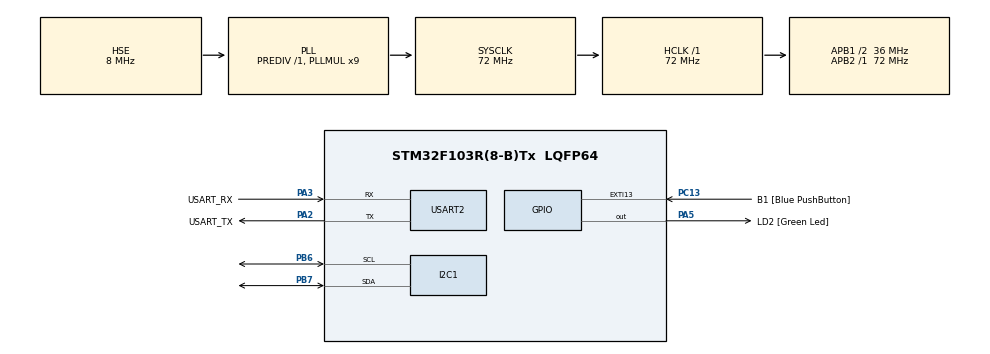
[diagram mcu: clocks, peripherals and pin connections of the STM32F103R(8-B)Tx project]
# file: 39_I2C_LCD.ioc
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Mcu.Family=STM32F1
Mcu.Name=STM32F103R(8-B)Tx
Mcu.Package=LQFP64
NVIC.EXTI15_10_IRQn=true\:0\:0\:false\:false\:true\:true\:true\:true
NVIC.PriorityGroup=NVIC_PRIORITYGROUP_4
PA13.GPIO_Label=TMS
PA13.Mode=Serial_Wire
PA13.Signal=SYS_JTMS-SWDIO
PA14.GPIO_Label=TCK
PA14.Mode=Serial_Wire
PA14.Signal=SYS_JTCK-SWCLK
PA2.GPIO_Label=USART_TX
PA2.GPIO_Mode=GPIO_MODE_AF_PP
PA2.GPIO_PuPd=GPIO_NOPULL
PA2.GPIO_Speed=GPIO_SPEED_FREQ_LOW
PA2.Mode=Asynchronous
PA2.Signal=USART2_TX
PA3.GPIO_Label=USART_RX
PA3.GPIO_Mode=GPIO_MODE_AF_PP
PA3.GPIO_PuPd=GPIO_NOPULL
PA3.GPIO_Speed=GPIO_SPEED_FREQ_LOW
PA3.Mode=Asynchronous
PA3.Signal=USART2_RX
PA5.GPIO_Label=LD2 [Green Led]
PA5.GPIO_ModeDefaultOutputPP=GPIO_MODE_OUTPUT_PP
PA5.GPIO_PuPd=GPIO_NOPULL
PA5.GPIO_Speed=GPIO_SPEED_FREQ_LOW
PA5.Signal=GPIO_Output
PB3.GPIO_Label=SWO
PB3.Signal=SYS_JTDO-TRACESWO
PB6.Mode=I2C
PB6.Signal=I2C1_SCL
PB7.Mode=I2C
PB7.Signal=I2C1_SDA
PC13-TAMPER-RTC.GPIO_Label=B1 [Blue PushButton]
PC13-TAMPER-RTC.GPIO_PuPd=GPIO_NOPULL
PC13-TAMPER-RTC.Signal=GPXTI13
PC14-OSC32_IN.Mode=LSE-External-Oscillator
PC14-OSC32_IN.Signal=RCC_OSC32_IN
PC15-OSC32_OUT.Mode=LSE-External-Oscillator
PC15-OSC32_OUT.Signal=RCC_OSC32_OUT
PD0-OSC_IN.Mode=HSE-External-Oscillator
PD0-OSC_IN.Signal=RCC_OSC_IN
PD1-OSC_OUT.Mode=HSE-External-Oscillator
PD1-OSC_OUT.Signal=RCC_OSC_OUT
ProjectManager.HeapSize=0x200
ProjectManager.StackSize=0x400
ProjectManager.TargetToolchain=CMake
RCC.AHBFreq_Value=72000000
RCC.APB1CLKDivider=RCC_HCLK_DIV2
RCC.APB1Freq_Value=36000000
RCC.APB1TimFreq_Value=72000000
RCC.APB2Freq_Value=72000000
RCC.APB2TimFreq_Value=72000000
RCC.HCLKFreq_Value=72000000
RCC.PLLMUL=RCC_PLL_MUL9
RCC.PLLSourceVirtual=RCC_PLLSOURCE_HSE
RCC.RTCClockSelection=RCC_RTCCLKSOURCE_LSE
RCC.SYSCLKFreq_VALUE=72000000
RCC.SYSCLKSource=RCC_SYSCLKSOURCE_PLLCLK
RCC.USBFreq_Value=72000000
USART2.VirtualMode=VM_ASYNC
board=NUCLEO-F103RB

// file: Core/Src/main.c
/* USER CODE BEGIN Header */
/**
  ******************************************************************************
  * @file           : main.c
  * @brief          : Main program body
  ******************************************************************************
  * @attention
  *
  * Copyright (c) 2025 STMicroelectronics.
  * All rights reserved.
  *
  * This software is licensed under terms that can be found in the LICENSE file
  * in the root directory of this software component.
  * If no LICENSE file comes with this software, it is provided AS-IS.
  *
  ******************************************************************************
  */
/* USER CODE END Header */
#include "main.h"
#include "i2c.h"
#include "usart.h"
#include "gpio.h"

/* USER CODE BEGIN Includes */

#include "../../I2C_LCD/I2C_LCD.h"

/* USER CODE END Includes */

/* USER CODE BEGIN PD */

#define MyI2C_LCD I2C_LCD_1
#define SPEED 400

/* USER CODE END PD */

/* USER CODE BEGIN PV */

uint8_t HeartChar[] = {0x00, 0x0a, 0x15, 0x11, 0x11, 0x0a, 0x04, 0x00};
uint8_t SmileChar[] = {0x00, 0x0a, 0x0a, 0x00, 0x1f, 0x11, 0x09, 0x06};
uint8_t Flower1Char[] =     {0x13, 0x1e, 0x0e, 0x0f, 0x1b, 0x04, 0x15, 0x0e};
uint8_t Flower1InvChar[] =  {0x0c, 0x01, 0x11, 0x10, 0x04, 0x1b, 0x0a, 0x11};
uint8_t Flower2Char[] =     {0x19, 0x0f, 0x0e, 0x1e, 0x17, 0x04, 0x15, 0x0e};
uint8_t Flower2InvChar[] =  {0x06, 0x10, 0x11, 0x01, 0x08, 0x1b, 0x0a, 0x11};

/* USER CODE END PV */

void SystemClock_Config(void);

/* USER CODE BEGIN 0 */

void Dance(uint8_t rounds, uint8_t mode)
{

  uint8_t i = 0, o = 0;

  for( int c = 0 ; c < rounds ; c++)
  {
    if(mode)
    {
      I2C_LCD_ShiftLeft(MyI2C_LCD);
      HAL_Delay(SPEED/2);
      I2C_LCD_ShiftLeft(MyI2C_LCD);
      HAL_Delay(SPEED);
      I2C_LCD_ShiftRight(MyI2C_LCD);
      HAL_Delay(SPEED/2);
      I2C_LCD_ShiftRight(MyI2C_LCD);
      HAL_Delay(SPEED);
    }

    for (int p = 0; p < 4 ; p++)
    {
      I2C_LCD_SetCursor(MyI2C_LCD, 12, 1);
      switch(i)
      {
        case 0:
        if(!o)
        {
          I2C_LCD_PrintCustomChar(MyI2C_LCD, 2);
          I2C_LCD_PrintCustomChar(MyI2C_LCD, 3);
          o = 1;
        }
        else
        {
          I2C_LCD_PrintCustomChar(MyI2C_LCD, 4);
          I2C_LCD_PrintCustomChar(MyI2C_LCD, 5);
          i = 1;
          o = 0;
        }
        break;
      case 1:
        if(!o)
        {
          I2C_LCD_PrintCustomChar(MyI2C_LCD, 3);
          I2C_LCD_PrintCustomChar(MyI2C_LCD, 2);
          o = 1;
        }
        else
        {
          I2C_LCD_PrintCustomChar(MyI2C_LCD, 5);
          I2C_LCD_PrintCustomChar(MyI2C_LCD, 4);
          i = 1;
          o = 0;
        }
      }
      HAL_Delay(SPEED);
    }
  }
}
/* USER CODE END 0 */

int main(void)
{

  /* MCU Configuration--------------------------------------------------------*/

  /* Reset of all peripherals, Initializes the Flash interface and the Systick. */
  HAL_Init();

  /* Configure the system clock */
  SystemClock_Config();

  /* Initialize all configured peripherals */
  MX_GPIO_Init();
  MX_I2C1_Init();
  MX_USART2_UART_Init();
  /* USER CODE BEGIN 2 */

  I2C_LCD_Init(MyI2C_LCD);

  I2C_LCD_CreateCustomChar(MyI2C_LCD, 0, HeartChar);
  I2C_LCD_CreateCustomChar(MyI2C_LCD, 1, SmileChar);
  I2C_LCD_CreateCustomChar(MyI2C_LCD, 2, Flower1Char);
  I2C_LCD_CreateCustomChar(MyI2C_LCD, 3, Flower2Char);
  I2C_LCD_CreateCustomChar(MyI2C_LCD, 4, Flower1InvChar);
  I2C_LCD_CreateCustomChar(MyI2C_LCD, 5, Flower2InvChar);

  I2C_LCD_SetCursor(MyI2C_LCD, 0, 0);
  I2C_LCD_WriteString(MyI2C_LCD, " !Hello World!");
  I2C_LCD_SetCursor(MyI2C_LCD, 0, 1);
  I2C_LCD_WriteString(MyI2C_LCD, " !I2C_LCD!");

  HAL_Delay(SPEED*2);

  I2C_LCD_PrintCustomChar(MyI2C_LCD, 0);
  I2C_LCD_PrintCustomChar(MyI2C_LCD, 1);
  I2C_LCD_PrintCustomChar(MyI2C_LCD, 2);
  I2C_LCD_PrintCustomChar(MyI2C_LCD, 3);

  HAL_Delay(SPEED*2);

  I2C_LCD_NoBacklight(MyI2C_LCD);   HAL_Delay(SPEED*2);
  I2C_LCD_Backlight(MyI2C_LCD);     HAL_Delay(SPEED*2);
  Dance(1,1);
  I2C_LCD_Cursor(MyI2C_LCD);        HAL_Delay(SPEED*2);
  I2C_LCD_Blink(MyI2C_LCD);         HAL_Delay(SPEED*2);
  I2C_LCD_NoBlink(MyI2C_LCD);       HAL_Delay(SPEED*2);
  I2C_LCD_NoCursor(MyI2C_LCD);      HAL_Delay(SPEED*2);
  I2C_LCD_NoDisplay(MyI2C_LCD);     HAL_Delay(SPEED*2);
  I2C_LCD_Display(MyI2C_LCD);       HAL_Delay(SPEED*2);

  /* USER CODE END 2 */

  /* Infinite loop */
  /* USER CODE BEGIN WHILE */
  while (1)
  {

    Dance(1, 0);

    /* USER CODE END WHILE */

  }
}

void SystemClock_Config(void)
{
  RCC_OscInitTypeDef RCC_OscInitStruct = {0};
  RCC_ClkInitTypeDef RCC_ClkInitStruct = {0};

  /** Initializes the RCC Oscillators according to the specified parameters
  * in the RCC_OscInitTypeDef structure.
  */
  RCC_OscInitStruct.OscillatorType = RCC_OSCILLATORTYPE_HSE;
  RCC_OscInitStruct.HSEState = RCC_HSE_ON;
  RCC_OscInitStruct.HSEPredivValue = RCC_HSE_PREDIV_DIV1;
  RCC_OscInitStruct.HSIState = RCC_HSI_ON;
  RCC_OscInitStruct.PLL.PLLState = RCC_PLL_ON;
  RCC_OscInitStruct.PLL.PLLSource = RCC_PLLSOURCE_HSE;
  RCC_OscInitStruct.PLL.PLLMUL = RCC_PLL_MUL9;
  if (HAL_RCC_OscConfig(&RCC_OscInitStruct) != HAL_OK)
  {
    Error_Handler();
  }

  /** Initializes the CPU, AHB and APB buses clocks
  */
  RCC_ClkInitStruct.ClockType = RCC_CLOCKTYPE_HCLK|RCC_CLOCKTYPE_SYSCLK
                              |RCC_CLOCKTYPE_PCLK1|RCC_CLOCKTYPE_PCLK2;
  RCC_ClkInitStruct.SYSCLKSource = RCC_SYSCLKSOURCE_PLLCLK;
  RCC_ClkInitStruct.AHBCLKDivider = RCC_SYSCLK_DIV1;
  RCC_ClkInitStruct.APB1CLKDivider = RCC_HCLK_DIV2;
  RCC_ClkInitStruct.APB2CLKDivider = RCC_HCLK_DIV1;

  if (HAL_RCC_ClockConfig(&RCC_ClkInitStruct, FLASH_LATENCY_2) != HAL_OK)
  {
    Error_Handler();
  }
}

void Error_Handler(void)
{
  __disable_irq();
  while (1)
  {
  }
}
